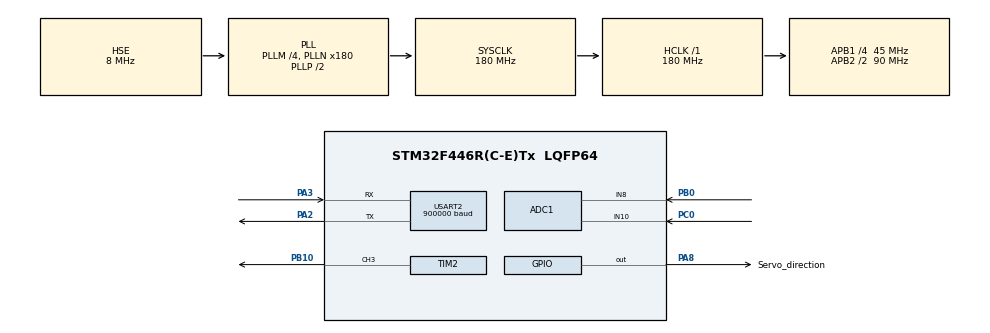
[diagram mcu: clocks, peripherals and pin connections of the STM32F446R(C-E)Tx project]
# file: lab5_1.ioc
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ADC1.Channel-0\#ChannelRegularConversion=ADC_CHANNEL_10
ADC1.Channel-1\#ChannelRegularConversion=ADC_CHANNEL_8
ADC1.EOCSelection=ADC_EOC_SEQ_CONV
ADC1.NbrOfConversion=2
ADC1.NbrOfConversionFlag=1
ADC1.Rank-0\#ChannelRegularConversion=1
ADC1.Rank-1\#ChannelRegularConversion=2
ADC1.SamplingTime-0\#ChannelRegularConversion=ADC_SAMPLETIME_3CYCLES
ADC1.SamplingTime-1\#ChannelRegularConversion=ADC_SAMPLETIME_3CYCLES
ADC1.ScanConvMode=ENABLE
ADC1.master=1
Dma.ADC1.0.Direction=DMA_PERIPH_TO_MEMORY
Dma.ADC1.0.FIFOMode=DMA_FIFOMODE_DISABLE
Dma.ADC1.0.Instance=DMA2_Stream0
Dma.ADC1.0.MemDataAlignment=DMA_MDATAALIGN_HALFWORD
Dma.ADC1.0.MemInc=DMA_MINC_ENABLE
Dma.ADC1.0.Mode=DMA_NORMAL
Dma.ADC1.0.PeriphDataAlignment=DMA_PDATAALIGN_HALFWORD
Dma.ADC1.0.PeriphInc=DMA_PINC_DISABLE
Dma.ADC1.0.Priority=DMA_PRIORITY_LOW
Dma.Request0=ADC1
Mcu.Family=STM32F4
Mcu.Name=STM32F446R(C-E)Tx
Mcu.Package=LQFP64
NVIC.DMA2_Stream0_IRQn=true\:0\:0\:false\:false\:true\:false\:true\:true
NVIC.PriorityGroup=NVIC_PRIORITYGROUP_4
NVIC.TIM1_UP_TIM10_IRQn=true\:0\:0\:false\:false\:true\:true\:true\:true
NVIC.USART2_IRQn=true\:0\:0\:false\:false\:true\:true\:true\:true
PA2.Mode=Asynchronous
PA2.Signal=USART2_TX
PA3.Mode=Asynchronous
PA3.Signal=USART2_RX
PA8.GPIO_Label=Servo_direction
PA8.Signal=GPIO_Output
PB0.Signal=ADCx_IN8
PB10.Signal=S_TIM2_CH3
PC0.Signal=ADCx_IN10
PH0-OSC_IN.Mode=HSE-External-Oscillator
PH0-OSC_IN.Signal=RCC_OSC_IN
PH1-OSC_OUT.Mode=HSE-External-Oscillator
PH1-OSC_OUT.Signal=RCC_OSC_OUT
ProjectManager.HeapSize=0x200
ProjectManager.StackSize=0x400
ProjectManager.TargetToolchain=STM32CubeIDE
RCC.AHBFreq_Value=180000000
RCC.APB1CLKDivider=RCC_HCLK_DIV4
RCC.APB1Freq_Value=45000000
RCC.APB1TimFreq_Value=90000000
RCC.APB2CLKDivider=RCC_HCLK_DIV2
RCC.APB2Freq_Value=90000000
RCC.APB2TimFreq_Value=180000000
RCC.CortexFreq_Value=180000000
RCC.HCLKFreq_Value=180000000
RCC.HSE_VALUE=8000000
RCC.PLLM=4
RCC.PLLN=180
RCC.PLLSourceVirtual=RCC_PLLSOURCE_HSE
RCC.SYSCLKFreq_VALUE=180000000
RCC.SYSCLKSource=RCC_SYSCLKSOURCE_PLLCLK
RCC.USBFreq_Value=180000000
RCC.VCOOutputFreq_Value=360000000
SH.ADCx_IN10.0=ADC1_IN10,IN10
SH.ADCx_IN8.0=ADC1_IN8,IN8
SH.S_TIM2_CH3.0=TIM2_CH3,PWM Generation3 CH3
TIM1.Period=999
TIM1.Prescaler=179
TIM2.Channel-PWM\ Generation3\ CH3=TIM_CHANNEL_3
TIM2.Period=99
TIM2.Prescaler=899
TIM2.Pulse-PWM\ Generation3\ CH3=0
USART2.BaudRate=900000
USART2.VirtualMode=VM_ASYNC
VP_TIM1_VS_ClockSourceINT.Mode=Internal
VP_TIM2_VS_ClockSourceINT.Mode=Internal
board=custom

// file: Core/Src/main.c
/* USER CODE BEGIN Header */
/**
  ******************************************************************************
  * @file           : main.c
  * @brief          : Main program body
  ******************************************************************************
  * @attention
  *
  * Copyright (c) 2024 STMicroelectronics.
  * All rights reserved.
  *
  * This software is licensed under terms that can be found in the LICENSE file
  * in the root directory of this software component.
  * If no LICENSE file comes with this software, it is provided AS-IS.
  *
  ******************************************************************************
  */
/* USER CODE END Header */
#include "main.h"

/* USER CODE BEGIN PD */
#define ADC_BUFFER_SIZE 2
#define ALPHA_SHIFT 3 // alpha = 1 / (2 ^ ALPHA_SHIFT)
#define PID_FREQ 1000
#define PWM_MIN 0
#define PWM_MAX 100
#define DEADZONE 1.5f
/* USER CODE END PD */

ADC_HandleTypeDef hadc1;
DMA_HandleTypeDef hdma_adc1;

TIM_HandleTypeDef htim1;
TIM_HandleTypeDef htim2;

UART_HandleTypeDef huart2;

/* USER CODE BEGIN PV */
typedef struct __attribute__((packed)){
	uint8_t header[2];
	float angles[2];
	uint32_t control;
	uint8_t terminator[2];
} SimulinkPacket;

SimulinkPacket simulink_packet;

uint16_t adc_buffer[ADC_BUFFER_SIZE];

uint16_t pot = 0;
uint16_t pot_serv = 0;

float angle = 0;
float target = 0;

typedef struct {
	float error;
	float prev_error;
	float integral;
	float derivative;
	float kp;
	float ki;
	float kd;
	float raw_output;
	float output;
} PID;

PID pid = {
	0.0f,
	0.0f,
	0.0f,
	0.0f,
	12.0f, //Kp
	2.0f, //Ki
	0.35f, //Kd
	0.0f,
	0.0f
};
/* USER CODE END PV */

void SystemClock_Config(void);
static void MX_GPIO_Init(void);
static void MX_DMA_Init(void);
static void MX_ADC1_Init(void);
static void MX_USART2_UART_Init(void);
static void MX_TIM1_Init(void);
static void MX_TIM2_Init(void);
/* USER CODE BEGIN PFP */
void update_PID();
/* USER CODE END PFP */

int main(void)
{

  /* MCU Configuration--------------------------------------------------------*/

  /* Reset of all peripherals, Initializes the Flash interface and the Systick. */
  HAL_Init();

  /* Configure the system clock */
  SystemClock_Config();

  /* Initialize all configured peripherals */
  MX_GPIO_Init();
  MX_DMA_Init();
  MX_ADC1_Init();
  MX_USART2_UART_Init();
  MX_TIM1_Init();
  MX_TIM2_Init();
  /* USER CODE BEGIN 2 */
  HAL_TIM_Base_Start_IT(&htim1);
  HAL_TIM_PWM_Start(&htim2, TIM_CHANNEL_3);
  if (HAL_ADC_Start_DMA(&hadc1, (uint32_t*)adc_buffer, ADC_BUFFER_SIZE) != HAL_OK) {
  	  Error_Handler();
    }
  simulink_packet.header[0] = 0xAA;
  simulink_packet.header[1] = 0xBB;
  simulink_packet.terminator[0] = 0xCC;
  simulink_packet.terminator[1] = 0xDD;
  /* USER CODE END 2 */

  /* Infinite loop */
  while (1)
  {

  }
}

void SystemClock_Config(void)
{
  RCC_OscInitTypeDef RCC_OscInitStruct = {0};
  RCC_ClkInitTypeDef RCC_ClkInitStruct = {0};

  /** Configure the main internal regulator output voltage
  */
  __HAL_RCC_PWR_CLK_ENABLE();
  __HAL_PWR_VOLTAGESCALING_CONFIG(PWR_REGULATOR_VOLTAGE_SCALE1);

  /** Initializes the RCC Oscillators according to the specified parameters
  * in the RCC_OscInitTypeDef structure.
  */
  RCC_OscInitStruct.OscillatorType = RCC_OSCILLATORTYPE_HSE;
  RCC_OscInitStruct.HSEState = RCC_HSE_ON;
  RCC_OscInitStruct.PLL.PLLState = RCC_PLL_ON;
  RCC_OscInitStruct.PLL.PLLSource = RCC_PLLSOURCE_HSE;
  RCC_OscInitStruct.PLL.PLLM = 4;
  RCC_OscInitStruct.PLL.PLLN = 180;
  RCC_OscInitStruct.PLL.PLLP = RCC_PLLP_DIV2;
  RCC_OscInitStruct.PLL.PLLQ = 2;
  RCC_OscInitStruct.PLL.PLLR = 2;
  if (HAL_RCC_OscConfig(&RCC_OscInitStruct) != HAL_OK)
  {
    Error_Handler();
  }

  /** Activate the Over-Drive mode
  */
  if (HAL_PWREx_EnableOverDrive() != HAL_OK)
  {
    Error_Handler();
  }

  /** Initializes the CPU, AHB and APB buses clocks
  */
  RCC_ClkInitStruct.ClockType = RCC_CLOCKTYPE_HCLK|RCC_CLOCKTYPE_SYSCLK
                              |RCC_CLOCKTYPE_PCLK1|RCC_CLOCKTYPE_PCLK2;
  RCC_ClkInitStruct.SYSCLKSource = RCC_SYSCLKSOURCE_PLLCLK;
  RCC_ClkInitStruct.AHBCLKDivider = RCC_SYSCLK_DIV1;
  RCC_ClkInitStruct.APB1CLKDivider = RCC_HCLK_DIV4;
  RCC_ClkInitStruct.APB2CLKDivider = RCC_HCLK_DIV2;

  if (HAL_RCC_ClockConfig(&RCC_ClkInitStruct, FLASH_LATENCY_5) != HAL_OK)
  {
    Error_Handler();
  }
}

static void MX_ADC1_Init(void)
{

  ADC_ChannelConfTypeDef sConfig = {0};

  /** Configure the global features of the ADC (Clock, Resolution, Data Alignment and number of conversion)
  */
  hadc1.Instance = ADC1;
  hadc1.Init.ClockPrescaler = ADC_CLOCK_SYNC_PCLK_DIV4;
  hadc1.Init.Resolution = ADC_RESOLUTION_12B;
  hadc1.Init.ScanConvMode = ENABLE;
  hadc1.Init.ContinuousConvMode = DISABLE;
  hadc1.Init.DiscontinuousConvMode = DISABLE;
  hadc1.Init.ExternalTrigConvEdge = ADC_EXTERNALTRIGCONVEDGE_NONE;
  hadc1.Init.ExternalTrigConv = ADC_SOFTWARE_START;
  hadc1.Init.DataAlign = ADC_DATAALIGN_RIGHT;
  hadc1.Init.NbrOfConversion = 2;
  hadc1.Init.DMAContinuousRequests = DISABLE;
  hadc1.Init.EOCSelection = ADC_EOC_SEQ_CONV;
  if (HAL_ADC_Init(&hadc1) != HAL_OK)
  {
    Error_Handler();
  }

  /** Configure for the selected ADC regular channel its corresponding rank in the sequencer and its sample time.
  */
  sConfig.Channel = ADC_CHANNEL_10;
  sConfig.Rank = 1;
  sConfig.SamplingTime = ADC_SAMPLETIME_3CYCLES;
  if (HAL_ADC_ConfigChannel(&hadc1, &sConfig) != HAL_OK)
  {
    Error_Handler();
  }

  /** Configure for the selected ADC regular channel its corresponding rank in the sequencer and its sample time.
  */
  sConfig.Channel = ADC_CHANNEL_8;
  sConfig.Rank = 2;
  if (HAL_ADC_ConfigChannel(&hadc1, &sConfig) != HAL_OK)
  {
    Error_Handler();
  }

}

static void MX_TIM1_Init(void)
{

  TIM_ClockConfigTypeDef sClockSourceConfig = {0};
  TIM_MasterConfigTypeDef sMasterConfig = {0};

  htim1.Instance = TIM1;
  htim1.Init.Prescaler = 179;
  htim1.Init.CounterMode = TIM_COUNTERMODE_UP;
  htim1.Init.Period = 999;
  htim1.Init.ClockDivision = TIM_CLOCKDIVISION_DIV1;
  htim1.Init.RepetitionCounter = 0;
  htim1.Init.AutoReloadPreload = TIM_AUTORELOAD_PRELOAD_DISABLE;
  if (HAL_TIM_Base_Init(&htim1) != HAL_OK)
  {
    Error_Handler();
  }
  sClockSourceConfig.ClockSource = TIM_CLOCKSOURCE_INTERNAL;
  if (HAL_TIM_ConfigClockSource(&htim1, &sClockSourceConfig) != HAL_OK)
  {
    Error_Handler();
  }
  sMasterConfig.MasterOutputTrigger = TIM_TRGO_RESET;
  sMasterConfig.MasterSlaveMode = TIM_MASTERSLAVEMODE_DISABLE;
  if (HAL_TIMEx_MasterConfigSynchronization(&htim1, &sMasterConfig) != HAL_OK)
  {
    Error_Handler();
  }

}

static void MX_TIM2_Init(void)
{

  TIM_ClockConfigTypeDef sClockSourceConfig = {0};
  TIM_MasterConfigTypeDef sMasterConfig = {0};
  TIM_OC_InitTypeDef sConfigOC = {0};

  htim2.Instance = TIM2;
  htim2.Init.Prescaler = 899;
  htim2.Init.CounterMode = TIM_COUNTERMODE_UP;
  htim2.Init.Period = 99;
  htim2.Init.ClockDivision = TIM_CLOCKDIVISION_DIV1;
  htim2.Init.AutoReloadPreload = TIM_AUTORELOAD_PRELOAD_DISABLE;
  if (HAL_TIM_Base_Init(&htim2) != HAL_OK)
  {
    Error_Handler();
  }
  sClockSourceConfig.ClockSource = TIM_CLOCKSOURCE_INTERNAL;
  if (HAL_TIM_ConfigClockSource(&htim2, &sClockSourceConfig) != HAL_OK)
  {
    Error_Handler();
  }
  if (HAL_TIM_PWM_Init(&htim2) != HAL_OK)
  {
    Error_Handler();
  }
  sMasterConfig.MasterOutputTrigger = TIM_TRGO_RESET;
  sMasterConfig.MasterSlaveMode = TIM_MASTERSLAVEMODE_DISABLE;
  if (HAL_TIMEx_MasterConfigSynchronization(&htim2, &sMasterConfig) != HAL_OK)
  {
    Error_Handler();
  }
  sConfigOC.OCMode = TIM_OCMODE_PWM1;
  sConfigOC.Pulse = 0;
  sConfigOC.OCPolarity = TIM_OCPOLARITY_HIGH;
  sConfigOC.OCFastMode = TIM_OCFAST_DISABLE;
  if (HAL_TIM_PWM_ConfigChannel(&htim2, &sConfigOC, TIM_CHANNEL_3) != HAL_OK)
  {
    Error_Handler();
  }
  HAL_TIM_MspPostInit(&htim2);

}

static void MX_USART2_UART_Init(void)
{

  huart2.Instance = USART2;
  huart2.Init.BaudRate = 900000;
  huart2.Init.WordLength = UART_WORDLENGTH_8B;
  huart2.Init.StopBits = UART_STOPBITS_1;
  huart2.Init.Parity = UART_PARITY_NONE;
  huart2.Init.Mode = UART_MODE_TX_RX;
  huart2.Init.HwFlowCtl = UART_HWCONTROL_NONE;
  huart2.Init.OverSampling = UART_OVERSAMPLING_16;
  if (HAL_UART_Init(&huart2) != HAL_OK)
  {
    Error_Handler();
  }

}

static void MX_DMA_Init(void)
{

  /* DMA controller clock enable */
  __HAL_RCC_DMA2_CLK_ENABLE();

  /* DMA interrupt init */
  /* DMA2_Stream0_IRQn interrupt configuration */
  HAL_NVIC_SetPriority(DMA2_Stream0_IRQn, 0, 0);
  HAL_NVIC_EnableIRQ(DMA2_Stream0_IRQn);

}

static void MX_GPIO_Init(void)
{
  GPIO_InitTypeDef GPIO_InitStruct = {0};

  /* GPIO Ports Clock Enable */
  __HAL_RCC_GPIOH_CLK_ENABLE();
  __HAL_RCC_GPIOC_CLK_ENABLE();
  __HAL_RCC_GPIOA_CLK_ENABLE();
  __HAL_RCC_GPIOB_CLK_ENABLE();

  /*Configure GPIO pin Output Level */
  HAL_GPIO_WritePin(Servo_direction_GPIO_Port, Servo_direction_Pin, GPIO_PIN_RESET);

  /*Configure GPIO pin : Servo_direction_Pin */
  GPIO_InitStruct.Pin = Servo_direction_Pin;
  GPIO_InitStruct.Mode = GPIO_MODE_OUTPUT_PP;
  GPIO_InitStruct.Pull = GPIO_NOPULL;
  GPIO_InitStruct.Speed = GPIO_SPEED_FREQ_LOW;
  HAL_GPIO_Init(Servo_direction_GPIO_Port, &GPIO_InitStruct);

}

/* USER CODE BEGIN 4 */
void update_PID() {
	pid.error = angle - target;
	if ((pid.error > 0 && pid.error < DEADZONE) || (pid.error < 0 && -pid.error < DEADZONE)){
		pid.raw_output = 0;
	}
	else{
		pid.integral += pid.error / PID_FREQ;
		pid.derivative = (pid.error - pid.prev_error) * PID_FREQ;
		pid.raw_output = (pid.kp * pid.error + pid.ki * pid.integral + pid.kd * pid.derivative);
		pid.prev_error = pid.error;
	}
}

void set_control(){
	if (pid.raw_output == 0) {
		pid.output = pid.raw_output;
		__HAL_TIM_SET_COMPARE(&htim2, TIM_CHANNEL_3, (uint32_t)(pid.output));
	}
	else{
		if (pid.raw_output > 0) {
			HAL_GPIO_WritePin(Servo_direction_GPIO_Port, Servo_direction_Pin, GPIO_PIN_RESET);
			pid.output = pid.raw_output;
		} else {
			HAL_GPIO_WritePin(Servo_direction_GPIO_Port, Servo_direction_Pin, GPIO_PIN_SET);
			pid.output = -pid.raw_output;
		}

		if (pid.output > PWM_MAX) pid.output = PWM_MAX;
		if (pid.output < PWM_MIN) pid.output = PWM_MIN;

		__HAL_TIM_SET_COMPARE(&htim2, TIM_CHANNEL_3, (uint32_t)(pid.output));
	}
}

void HAL_TIM_PeriodElapsedCallback(TIM_HandleTypeDef *htim) {
    if (htim->Instance == TIM1) {
    	if (HAL_ADC_Start_DMA(&hadc1, (uint32_t*)adc_buffer, ADC_BUFFER_SIZE) != HAL_OK) {
		  Error_Handler();
		}

    	update_PID();

    	set_control();

    	simulink_packet.angles[0] = target;
    	simulink_packet.angles[1] = angle;
    	simulink_packet.control = (uint32_t) pid.output;
    	HAL_UART_Transmit_IT(&huart2, (uint8_t*) &simulink_packet, sizeof(SimulinkPacket));
    }
}

void HAL_ADC_ConvCpltCallback(ADC_HandleTypeDef *hadc) {
    if(hadc->Instance == ADC1) {
    	pot_serv += ((adc_buffer[0] - pot_serv) >> ALPHA_SHIFT);
        pot += ((adc_buffer[1] - pot) >> ALPHA_SHIFT);
        target = (pot / 4095.0f) * 180.0f;
        angle = (pot_serv / 4095.0f) * 180.0f;
    }
}
/* USER CODE END 4 */

void Error_Handler(void)
{
  __disable_irq();
  while (1)
  {
  }
}
